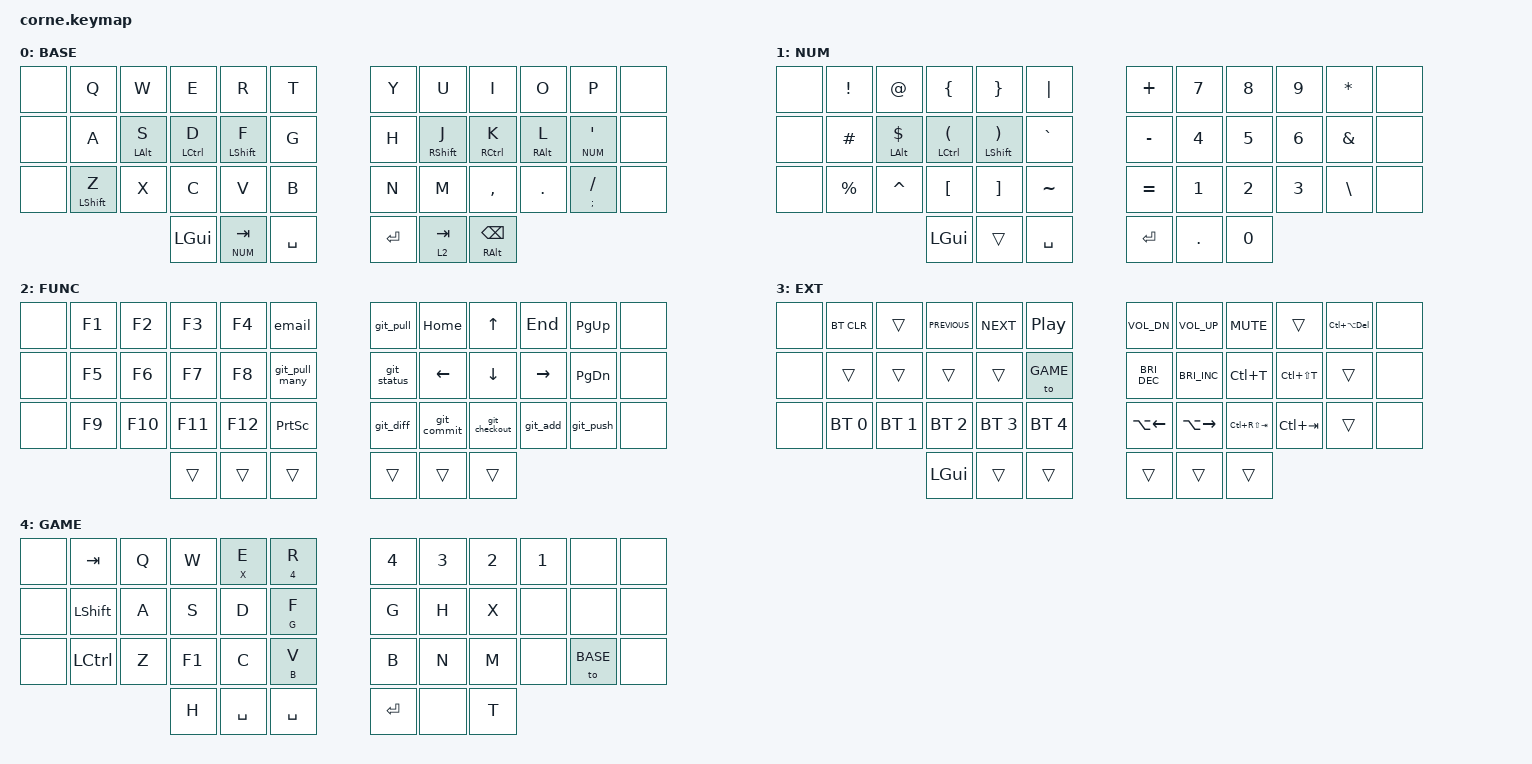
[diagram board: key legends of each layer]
/*
 * Copyright (c) 2020 The ZMK Contributors
 *
 * SPDX-License-Identifier: MIT
 */

#include <behaviors.dtsi>
#include <dt-bindings/zmk/bt.h>
#include <dt-bindings/zmk/keys.h>

#define BASE  0
#define NUM   1
#define FUNC  2
#define EXT   3
#define GAME  4

//#define MOUSE 5

&soft_off {
    hold-time-ms = <2000>; // Only turn off it the key is held for 2 seconds or longer.
};

//&mmv {
//    time-to-max-speed-ms = <500>;
//};
//
//&mwh {
//    acceleration-exponent=<1>;
//};

/ {
    behaviors {
        hm: homerow_mods {
            compatible = "zmk,behavior-hold-tap";
            label = "HOMEROW_MODS";
            bindings = <&kp>, <&kp>;

            #binding-cells = <2>;
            tapping-term-ms = <200>;
            flavor = "tap-preferred";
            require-prior-idle-ms = <125>;
            quick-tap-ms = <200>;
        };
    };

    combos {
        compatible = "zmk,combos";

        Clear_BLE_Profile {
            bindings = <&bt BT_CLR>;
            key-positions = <38 5 1>;
        };

        space {
            bindings = <&kp SPACE>;
            key-positions = <18 19>;
        };

        enter {
            bindings = <&kp ENTER>;
            key-positions = <17 16>;
        };

        return {
            bindings = <&kp RET>;
            key-positions = <21 22>;
        };

        escape {
            bindings = <&kp ESC>;
            key-positions = <1 2>;
        };

        underline {
            bindings = <&kp UNDER>;
            key-positions = <8 7>;
        };

        dash {
            bindings = <&kp MINUS>;
            key-positions = <7 6>;
        };

        backslsh {
            bindings = <&kp BSLH>;
            key-positions = <33 34>;
        };

        reload {
            bindings = <&kp RC(R)>;
            key-positions = <4 5>;
        };

        undo {
            bindings = <&kp LC(Z)>;
            key-positions = <26 25>;
        };

        cut {
            bindings = <&kp LC(X)>;
            key-positions = <26 27>;
        };

        copy {
            bindings = <&kp LC(C)>;
            key-positions = <27 28>;
        };

        paste {
            bindings = <&kp LC(V)>;
            key-positions = <28 29>;
        };

        select_all {
            bindings = <&kp LC(A)>;
            key-positions = <13 14>;
        };

        save {
            bindings = <&kp LC(S)>;
            key-positions = <14 15>;
        };

        all_caps {
            bindings = <&kp CAPS>;
            key-positions = <16 19>;
        };

        soft_off {
            bindings = <&soft_off>;
            key-positions = <25 29 38>;
        };

        backspace {
            bindings = <&kp BACKSPACE>;
            key-positions = <10 9>;
        };
    };

    macros {
        email: email {
            compatible = "zmk,behavior-macro";
            #binding-cells = <0>;
            bindings = <&none &kp B &kp R &kp Y &kp A &kp N &kp AT &kp P &kp E &kp C &kp J &kp O &kp DOT &kp C &kp O &kp M>;
            label = "EMAIL";
        };

        git_status: git_status {
            compatible = "zmk,behavior-macro";
            #binding-cells = <0>;
            bindings = <&kp G &kp I &kp T &kp SPACE &kp S &kp T &kp A &kp T &kp U &kp S>;
            label = "GIT_STATUS";
        };

        git_pull: git_pull {
            compatible = "zmk,behavior-macro";
            #binding-cells = <0>;
            bindings = <&kp G &kp I &kp T &kp SPACE &kp P &kp U &kp L &kp L>;
            label = "GIT_PULL";
        };

        git_pull_many: git_pull_many {
            compatible = "zmk,behavior-macro";
            #binding-cells = <0>;
            bindings = <&kp LC(R) &kp G &kp I &kp T &kp SPACE &kp MINUS &kp LS(C) &kp SPACE &kp LBRC &kp RBRC &kp SPACE &kp P &kp U &kp L &kp L &kp SQT>;
            label = "GIT_PULL_MANY";
        };

        git_push: git_push {
            compatible = "zmk,behavior-macro";
            #binding-cells = <0>;
            bindings = <&kp G &kp I &kp T &kp SPACE &kp P &kp U &kp S &kp H>;
            label = "GIT_PUSH";
        };

        git_add: git_add {
            compatible = "zmk,behavior-macro";
            #binding-cells = <0>;
            bindings = <&kp G &kp I &kp T &kp SPACE &kp A &kp D &kp D &kp SPACE &kp DOT>;
            label = "GIT_ADD";
        };

        git_diff: git_diff {
            compatible = "zmk,behavior-macro";
            #binding-cells = <0>;
            bindings = <&kp G &kp I &kp T &kp SPACE &kp D &kp I &kp F &kp F>;
            label = "GIT_DIFF";
        };

        git_checkout: git_checkout {
            compatible = "zmk,behavior-macro";
            #binding-cells = <0>;
            bindings = <&kp G &kp I &kp T &kp SPACE &kp C &kp H &kp E &kp C &kp K &kp O &kp U &kp T &kp SPACE>;
            label = "GIT_CHECKOUT";
        };

        git_commit: git_commit {
            compatible = "zmk,behavior-macro";
            #binding-cells = <0>;
            bindings = <&kp G &kp I &kp T &kp SPACE &kp C &kp O &kp M &kp M &kp I &kp T &kp SPACE &kp MINUS &kp M &kp SPACE &kp DOUBLE_QUOTES &kp DOUBLE_QUOTES &kp LEFT>;
            label = "GIT_COMMIT";
        };
    };

    keymap {
        compatible = "zmk,keymap";

        base_layer {
            label = "BASE";

            //╭──────────┬──────────┬──────────┬──────────┬──────────╮   ╭──────────┬──────────┬──────────┬──────────┬──────────╮
            //│     Q  [esc]  W     │     E    │    R [reload]  T    │   │   Y    [ - ]  U   [ _ ]  I     │   O    [ ⌫ ]  P    │
            //├──────────┼──────────┼──────────┼──────────┼──────────┤   ├──────────┼──────────┼──────────┼──────────┼──────────┤
            //│     A  [all]  S   [save]  D    │    F   [ ↵ ]   G    │   │   H   [space]  J    │    K     │   L    [ ↵ ]  '"    │
            //├──────────┼──────────┼──────────┼──────────┼──────────┤   ├──────────┼──────────┼──────────┼──────────┼──────────┤
            //│     Z [undo]  X   [cut]   C  [copy] V  [paste]  B    │   │   N      │    M     │   ,<     │  .>    [ \ ]  /?    │
            //╰──────────┴──────────┼──────────┼──────────┼──────────┤   ├──────────┼──────────┼──────────┼──────────┴──────────╯
            //                      │  WIN     │  LWR/↹  │  SPACE   │   │  ENTER   │  RSE/↹   │  ALT/⌫  │
            //                      ╰──────────┴──────────┴──────────╯   ╰──────────┴──────────┴──────────╯

            bindings = <
&none  &kp Q             &kp W           &kp E        &kp R             &kp T        &kp Y    &kp U              &kp I                    &kp O            &kp P          &none
&none  &kp A             &hm LEFT_ALT S  &hm LCTRL D  &hm LEFT_SHIFT F  &kp G        &kp H    &hm RIGHT_SHIFT J  &hm RCTRL K              &hm RIGHT_ALT L  &lt NUM SQT    &none
&none  &hm LEFT_SHIFT Z  &kp X           &kp C        &kp V             &kp B        &kp N    &kp M              &kp COMMA                &kp DOT          &hm SEMI FSLH  &none
                                         &kp LGUI     &lt NUM TAB       &kp SPACE    &kp RET  &lt 2 TAB          &hm RIGHT_ALT BACKSPACE
            >;
        };

        num_layer {
            label = "NUM";

            //╭──────────┬──────────┬──────────┬──────────┬──────────╮   ╭──────────┬──────────┬──────────┬──────────┬──────────╮
            //|  !       |  @       |  {       |  }       | "|"      |   |  +       |  7       |  8       |  9       |  *       |
            //├──────────┼──────────┼──────────┼──────────┼──────────┤   ├──────────┼──────────┼──────────┼──────────┼──────────┤
            //|  #       |  $       |  (       |  )       |  `       |   |  -       |  4       |  5       |  6       |  &       |
            //├──────────┼──────────┼──────────┼──────────┼──────────┤   ├──────────┼──────────┼──────────┼──────────┼──────────┤
            //|  %       |  ^       |  [       |  ]       |  ~       |   |  =       |  1       |  2       |  3       |  \       |
            //╰──────────┴──────────┼──────────┼──────────┼──────────┤   ├──────────┼──────────┼──────────┼──────────┴──────────╯
            //                      |  WIN     |          |  SPACE   │   │  ENTER   │  .       |  0       |
            //                      ╰──────────┴──────────┴──────────╯   ╰──────────┴──────────┴──────────╯

            bindings = <
&none  &kp EXCL     &kp AT               &kp LBRC        &kp RBRC             &kp PIPE     &kp PLUS   &kp N7   &kp N8  &kp N9  &kp STAR  &none
&none  &kp HASH     &hm LEFT_ALT DOLLAR  &hm LCTRL LPAR  &hm LEFT_SHIFT RPAR  &kp GRAVE    &kp MINUS  &kp N4   &kp N5  &kp N6  &kp AMPS  &none
&none  &kp PERCENT  &kp CARET            &kp LBKT        &kp RBKT             &kp TILDE    &kp EQUAL  &kp N1   &kp N2  &kp N3  &kp BSLH  &none
                                         &kp LGUI        &trans               &kp SPACE    &kp RET    &kp DOT  &kp N0
            >;
        };

        func_layer {
            label = "FUNC";

            //╭──────────┬──────────┬──────────┬──────────┬──────────╮   ╭──────────┬──────────┬──────────┬──────────┬──────────╮
            //|   F1     |  F2      |  F3      |  F4      | email    |   | g.pull   |  HOME    |  ▲       |  END     |  PG_UP   |
            //├──────────┼──────────┼──────────┼──────────┼──────────┤   ├──────────┼──────────┼──────────┼──────────┼──────────┤
            //|   F5     |  F6      |  F7      |  F8      | g.pull_m |   | g.status |   ◄      |  ▼       |  ►       |  PG_DN   |
            //├──────────┼──────────┼──────────┼──────────┼──────────┤   ├──────────┼──────────┼──────────┼──────────┼──────────┤
            //|   F9     |  F10     |  F11     |  F12     | PSCRN    |   | g.diff   | g.commit | g.chkout |  g.add   |  g.push  |
            //╰──────────┴──────────┼──────────┼──────────┼──────────┤   ├──────────┼──────────┼──────────┼──────────┴──────────╯
            //                      |  WIN     |          |          |   |          |  RSE     |  RALT    |
            //                      ╰──────────┴──────────┴──────────╯   ╰──────────┴──────────┴──────────╯

            bindings = <
&none  &kp F1  &kp F2   &kp F3   &kp F4   &email            &git_pull    &kp HOME     &kp UP         &kp END    &kp PG_UP      &none
&none  &kp F5  &kp F6   &kp F7   &kp F8   &git_pull_many    &git_status  &kp LEFT     &kp DOWN       &kp RIGHT  &kp PAGE_DOWN  &none
&none  &kp F9  &kp F10  &kp F11  &kp F12  &kp PSCRN         &git_diff    &git_commit  &git_checkout  &git_add   &git_push      &none
                        &trans   &trans   &trans            &trans       &trans       &trans
            >;
        };

        extended_layer {
            label = "EXT";

            //╭──────────┬──────────┬──────────┬──────────┬──────────╮   ╭──────────┬──────────┬──────────┬──────────┬──────────╮
            //| BT CLR   |          |  Prv     |  Nxt     |  ►II     |   |  Vol-    |  Vol+    |  Mute    |          |  ^ALT⌦  |
            //├──────────┼──────────┼──────────┼──────────┼──────────┤   ├──────────┼──────────┼──────────┼──────────┼──────────┤
            //|          |          |          |          |          |   |  Bri-    |  Bri+    |  ^ T     |  ^⇧ T    |          |
            //├──────────┼──────────┼──────────┼──────────┼──────────┤   ├──────────┼──────────┼──────────┼──────────┼──────────┤
            //|  BT1     |  BT2     |  BT3     |  BT4     |  BT5     |   |  alt-L   |  alt-R   |  ^ Tab   |  ^⇧ Tab  |          |
            //╰──────────┴──────────┼──────────┼──────────┼──────────┤   ├──────────┼──────────┼──────────┼──────────┴──────────╯
            //                      |  WIN     |          |          |   |          |          |          |
            //                      ╰──────────┴──────────┴──────────╯   ╰──────────┴──────────┴──────────╯

            bindings = <
&none  &bt BT_CLR    &trans        &kp C_PREVIOUS  &kp C_NEXT    &kp C_PLAY_PAUSE    &kp C_VOL_DN          &kp C_VOL_UP          &kp C_MUTE       &trans         &kp LC(LA(DEL))  &none
&none  &trans        &trans        &trans          &trans        &to GAME            &kp C_BRIGHTNESS_DEC  &kp C_BRIGHTNESS_INC  &kp LC(T)        &kp LC(LS(T))  &trans           &none
&none  &bt BT_SEL 0  &bt BT_SEL 1  &bt BT_SEL 2    &bt BT_SEL 3  &bt BT_SEL 4        &kp LA(LEFT)          &kp LA(RIGHT)         &kp LC(RS(TAB))  &kp LC(TAB)    &trans           &none
                                   &kp LGUI        &trans        &trans              &trans                &trans                &trans
            >;
        };

        game_layer {
            label = "GAME";

            //╭──────────┬──────────┬──────────┬──────────┬──────────╮   ╭──────────┬──────────┬──────────┬──────────┬──────────╮
            //|  Inv     |  Tact.A  |  ▲       |  Hands   |  Reload  |   | Health   |  3       |  4       |   1      |   2      |
            //├──────────┼──────────┼──────────┼──────────┼──────────┤   ├──────────┼──────────┼──────────┼──────────┼──────────┤
            //|  Sprint  |  ◄       |  ▼       |  ►       |  Ping    |   | Grenade  | CharMove |  X       |          |          |
            //├──────────┼──────────┼──────────┼──────────┼──────────┤   ├──────────┼──────────┼──────────┼──────────┼──────────┤
            //|  Crouch  |  Ulti.A  |  F1      |  Crouch  |  Melee   |   | FireMode | Look Gun |  Map     |          |  BASE L  |
            //╰──────────┴──────────┼──────────┼──────────┼──────────┤   ├──────────┼──────────┼──────────┼──────────┴──────────╯
            //                      |  Grenade |  Health  | Jump     │   │  ENTER   │          |  T       |
            //                      ╰──────────┴──────────┴──────────╯   ╰──────────┴──────────┴──────────╯

            bindings = <
&none  &kp TAB    &kp Q  &kp W   &hm X E    &hm N4 R     &kp N4   &kp N3  &kp N2  &kp N1  &none     &none
&none  &kp LSHFT  &kp A  &kp S   &kp D      &hm G F      &kp G    &kp H   &kp X   &none   &none     &none
&none  &kp LCTRL  &kp Z  &kp F1  &kp C      &hm B V      &kp B    &kp N   &kp M   &none   &to BASE  &none
                         &kp H   &kp SPACE  &kp SPACE    &kp RET  &none   &kp T
            >;
        };

        //        mouse_layer {
        //            label = "MOUSE";
        //        //╭──────────┬──────────┬──────────┬──────────┬──────────╮   ╭──────────┬──────────┬──────────┬──────────┬──────────╮
        //        //|          | L.Click  |  ▲       | R.Click  |  S ▲     |   |          |          |          |          |          |
        //        //├──────────┼──────────┼──────────┼──────────┼──────────┤   ├──────────┼──────────┼──────────┼──────────┼──────────┤
        //        //|          |  ◄       |  ▼       |  ►       |  S ▼     |   |          |          |          |  S ▲     |          |
        //        //├──────────┼──────────┼──────────┼──────────┼──────────┤   ├──────────┼──────────┼──────────┼──────────┼──────────┤
        //        //|          |  S ◄     |          |  S ►     |          |   |  M.4     |  M.5     |  S ◄     |  S ▼     |  S ►     |
        //        //╰──────────┴──────────┼──────────┼──────────┼──────────┤   ├──────────┼──────────┼──────────┼──────────┴──────────╯
        //        //                      | L.Click  | R.Click  | M.Click  │   │ L.Click  | R.Click  | M.Click  |
        //        //                      ╰──────────┴──────────┴──────────╯   ╰──────────┴──────────┴──────────╯
        //            bindings = <
        //&none  &none  &mkp LCLK        &mmv MOVE_UP    &mkp RCLK         &mwh SCROLL_UP    &none      &none     &none            &none             &none             &none
        //&none  &none  &mmv MOVE_LEFT   &mmv MOVE_DOWN  &mmv MOVE_RIGHT   &mwh SCROLL_DOWN  &none      &none     &none            &mwh SCROLL_UP    &none             &none
        //&none  &none  &mwh SCROLL_LEFT &none           &mwh SCROLL_RIGHT &none             &mkp MB4   &mkp MB5  &mwh SCROLL_LEFT &mwh SCROLL_DOWN  &mwh SCROLL_RIGHT &none
        //                               &mkp LCLK       &mkp RCLK         &mkp MCLK         &mkp LCLK  &mkp RCLK &mkp MCLK
        //            >;
        //        };
    };

    conditional_layers {
        compatible = "zmk,conditional-layers";

        Activate_EXT {
            if-layers = <NUM FUNC>;
            then-layer = <EXT>;
        };
    };
};
